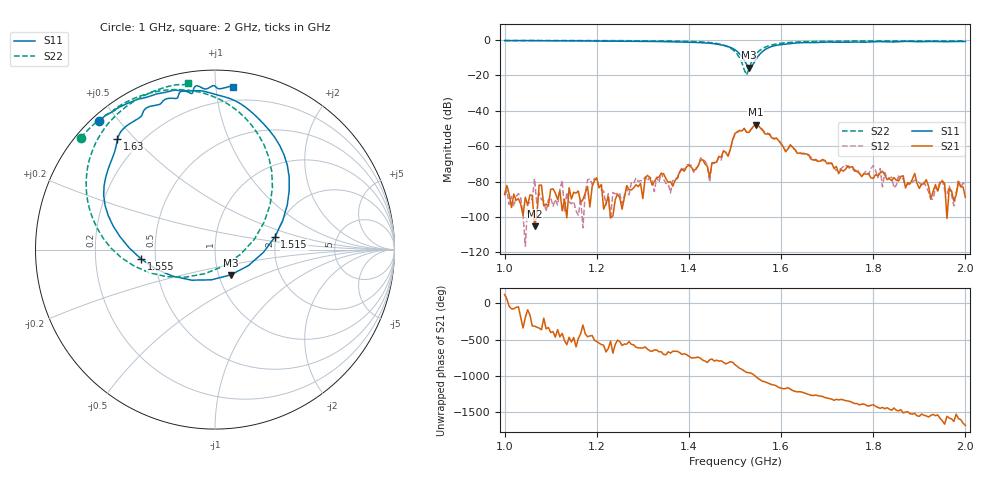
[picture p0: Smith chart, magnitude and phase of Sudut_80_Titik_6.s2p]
# Hz S RI R 50
! CMT, C1220, 16058040, 17.2.0/1
! Date: 14/08/2018 12:20:58
! Data: Format (Calibration Info)
! Freq  S11: Re/Im (F2)  S21: Re/Im (F2)  S12: Re/Im (F2)  S22: Re/Im (F2)
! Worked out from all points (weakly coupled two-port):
!   201 points, 1 GHz to 2 GHz, reference 50 ohm
!   highest |S21| = -47.83 dB at 1.545 GHz (marker M1); lowest = -105.3 dB at 1.065 GHz (marker M2)
!   lowest |S11| = -15.6 dB at 1.53 GHz (marker M3), VSWR 1.40, Z = 57 - j16.5 ohm
!   |S11| at or under -10 dB: 1.517 GHz to 1.548 GHz (31.28 MHz wide, 2.04 % of centre)
!   |S22| runs from -19.7 to -0.2 dB; largest |S21 - S12| = 0.00023
!   S11 on the Smith chart (normalised r, x): 1 GHz: 0.02, +0.45; 1.515 GHz: 1.97, +0.31; 1.555 GHz: 0.41, -0.05; 1.63 GHz: 0.12, +0.45; 2 GHz: 0.11, +1.11
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1e9  -0.6443 0.716  -2.2e-05 3.77e-05  3.99e-05 4.79e-06  -0.7482 0.6241
1.065e9  -0.5764 0.7649  3.74e-06 3.94e-06  5.46e-05 0.000108  -0.703 0.672
1.17e9  -0.4656 0.8235  1.46e-05 2.71e-05  2.42e-06 4.26e-06  -0.6114 0.7486
1.335e9  -0.198 0.8863  8.08e-05 0.000109  5.92e-05 7.43e-05  -0.3966 0.8623
1.365e9  -0.1087 0.8853  3.74e-05 6.41e-05  9.68e-05 3.93e-05  -0.3291 0.8802
1.4e9  -0.019 0.8708  0.000284 -4.13e-05  0.0003 -5.74e-05  -0.2221 0.8916
1.41e9  0.0199 0.8598  0.000181 -0.000107  0.000155 -9.85e-05  -0.183 0.8908
1.425e9  0.0861 0.8404  0.000323 -0.000239  0.000362 -0.000291  -0.1147 0.8829
1.44e9  0.1452 0.8107  -2.22e-05 -0.000268  -3.22e-05 -0.000278  -0.0353 0.8626
1.445e9  0.1655 0.7967  7.1e-05 -0.000111  3.56e-05 -8.85e-05  -0.00523 0.851
1.45e9  0.188 0.7792  0.000233 -0.000238  0.000229 -0.000249  0.0269 0.8364
1.485e9  0.3844 0.5291  -8.84e-05 -0.000508  -0.000141 -0.000546  0.2734 0.5833
1.5e9  0.4136 0.3302  -0.00129 -0.00188  -0.00125 -0.00175  0.32 0.3455
1.515e9  0.3336 0.0703  -0.00266 0.000404  -0.00271 0.000331  0.2191 0.0571
1.53e9  0.0873 -0.1411  -0.00135 0.00202  -0.00135 0.00204  -0.0562 -0.1342
1.545e9  -0.2345 -0.1484  0.00109 0.00391  0.001 0.00393  -0.3687 -0.1276
1.555e9  -0.4123 -0.0516  0.00294 0.00148  0.00294 0.00163  -0.522 -0.0449
1.63e9  -0.5433 0.6149  -0.00051 -0.00061  -0.000486 -0.000652  -0.6866 0.5415
1.67e9  -0.4222 0.7334  -0.000404 6.35e-05  -0.000395 5.92e-05  -0.619 0.6705
1.8e9  -0.1987 0.8723  8.72e-05 8.61e-05  0.000278 -4.05e-05  -0.4181 0.8454
1.835e9  -0.1334 0.87  0.000116 -3.55e-05  0.000113 -5.19e-05  -0.371 0.8697
2e9  0.0992 0.9037  -1.76e-05 3.12e-05  -7.29e-05 -2.63e-05  -0.1493 0.9278
